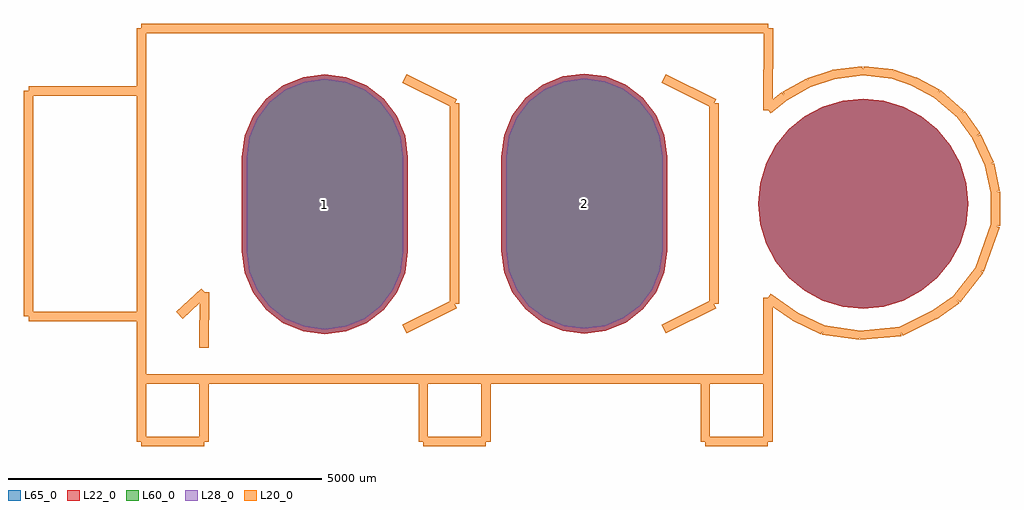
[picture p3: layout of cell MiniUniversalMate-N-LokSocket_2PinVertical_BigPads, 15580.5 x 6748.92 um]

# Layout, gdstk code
import gdstk
lib = gdstk.Library(unit=1e-6, precision=1e-09)
def P(c, l, *ps):  # polygons
    for p in ps: c.add(gdstk.Polygon(p, *l))
L20_0 = (20, 0)
L22_0 = (22, 0)
L28_0 = (28, 0)
L60_0 = (60, 0)
L65_0 = (65, 0)

miniuniversalmate_n_loks = lib.new_cell('MiniUniversalMate-N-LokSocket_2PinVertical_BigPads')
P(miniuniversalmate_n_loks, L22_0, [(-2070.1,-2085.41),(-1727.248,-2040.273),(-1407.76,-1907.937),(-1133.41,-1697.42),(-922.893,-1423.07),(-790.557,-1103.582),(-745.42,-760.73),(-745.42,740.41),(-790.557,1083.262),(-922.893,1402.75),(-1133.41,1677.1),(-1407.76,1887.617),(-1727.248,2019.953),(-2070.1,2065.09),(-2412.952,2019.953),(-2732.44,1887.617),(-3006.79,1677.1),(-3217.307,1402.75),(-3349.643,1083.262),(-3394.78,740.41),(-3394.78,-760.73),(-3349.643,-1103.582),(-3217.307,-1423.07),(-3006.79,-1697.42),(-2732.44,-1907.937),(-2412.952,-2040.273)],
  [(8195.38,0),(8163.192,326.815),(8067.863,641.071),(7913.058,930.691),(7704.725,1184.545),(7450.871,1392.878),(7161.251,1547.683),(6846.995,1643.012),(6520.18,1675.2),(6193.365,1643.012),(5879.109,1547.683),(5589.489,1392.878),(5335.635,1184.545),(5127.302,930.691),(4972.497,641.071),(4877.168,326.815),(4844.98,0),(4877.168,-326.815),(4972.497,-641.071),(5127.302,-930.691),(5335.635,-1184.545),(5589.489,-1392.878),(5879.109,-1547.683),(6193.365,-1643.012),(6520.18,-1675.2),(6846.995,-1643.012),(7161.251,-1547.683),(7450.871,-1392.878),(7704.725,-1184.545),(7913.058,-930.691),(8067.863,-641.071),(8163.192,-326.815)],
  [(2070.1,-2075.25),(2412.952,-2030.113),(2732.44,-1897.777),(3006.79,-1687.26),(3217.307,-1412.91),(3349.643,-1093.422),(3394.78,-750.57),(3394.78,750.57),(3349.643,1093.422),(3217.307,1412.91),(3006.79,1687.26),(2732.44,1897.777),(2412.952,2030.113),(2070.1,2075.25),(1727.248,2030.113),(1407.76,1897.777),(1133.41,1687.26),(922.893,1412.91),(790.557,1093.422),(745.42,750.57),(745.42,-750.57),(790.557,-1093.422),(922.893,-1412.91),(1133.41,-1687.26),(1407.76,-1897.777),(1727.248,-2030.113)])
P(miniuniversalmate_n_loks, L28_0, [(-2070.1,-2010.41),(-1746.659,-1967.828),(-1445.26,-1842.985),(-1186.443,-1644.387),(-987.845,-1385.57),(-863.002,-1084.171),(-820.42,-760.73),(-820.42,740.41),(-863.002,1063.851),(-987.845,1365.25),(-1186.443,1624.067),(-1445.26,1822.665),(-1746.659,1947.508),(-2070.1,1990.09),(-2393.541,1947.508),(-2694.94,1822.665),(-2953.757,1624.067),(-3152.355,1365.25),(-3277.198,1063.851),(-3319.78,740.41),(-3319.78,-760.73),(-3277.198,-1084.171),(-3152.355,-1385.57),(-2953.757,-1644.387),(-2694.94,-1842.985),(-2393.541,-1967.828)],
  [(2070.1,-2000.25),(2393.541,-1957.668),(2694.94,-1832.825),(2953.757,-1634.227),(3152.355,-1375.41),(3277.198,-1074.011),(3319.78,-750.57),(3319.78,750.57),(3277.198,1074.011),(3152.355,1375.41),(2953.757,1634.227),(2694.94,1832.825),(2393.541,1957.668),(2070.1,2000.25),(1746.659,1957.668),(1445.26,1832.825),(1186.443,1634.227),(987.845,1375.41),(863.002,1074.011),(820.42,750.57),(820.42,-750.57),(863.002,-1074.011),(987.845,-1375.41),(1186.443,-1634.227),(1445.26,-1832.825),(1746.659,-1957.668)])
P(miniuniversalmate_n_loks, L60_0, [(-2070.1,-2010.41),(-1746.659,-1967.828),(-1445.26,-1842.985),(-1186.443,-1644.387),(-987.845,-1385.57),(-863.002,-1084.171),(-820.42,-760.73),(-820.42,740.41),(-863.002,1063.851),(-987.845,1365.25),(-1186.443,1624.067),(-1445.26,1822.665),(-1746.659,1947.508),(-2070.1,1990.09),(-2393.541,1947.508),(-2694.94,1822.665),(-2953.757,1624.067),(-3152.355,1365.25),(-3277.198,1063.851),(-3319.78,740.41),(-3319.78,-760.73),(-3277.198,-1084.171),(-3152.355,-1385.57),(-2953.757,-1644.387),(-2694.94,-1842.985),(-2393.541,-1967.828)],
  [(2070.1,-2000.25),(2393.541,-1957.668),(2694.94,-1832.825),(2953.757,-1634.227),(3152.355,-1375.41),(3277.198,-1074.011),(3319.78,-750.57),(3319.78,750.57),(3277.198,1074.011),(3152.355,1375.41),(2953.757,1634.227),(2694.94,1832.825),(2393.541,1957.668),(2070.1,2000.25),(1746.659,1957.668),(1445.26,1832.825),(1186.443,1634.227),(987.845,1375.41),(863.002,1074.011),(820.42,750.57),(820.42,-750.57),(863.002,-1074.011),(987.845,-1375.41),(1186.443,-1634.227),(1445.26,-1832.825),(1746.659,-1957.668)])
P(miniuniversalmate_n_loks, L65_0, [(-2070.1,-2085.41),(-1727.248,-2040.273),(-1407.76,-1907.937),(-1133.41,-1697.42),(-922.893,-1423.07),(-790.557,-1103.582),(-745.42,-760.73),(-745.42,740.41),(-790.557,1083.262),(-922.893,1402.75),(-1133.41,1677.1),(-1407.76,1887.617),(-1727.248,2019.953),(-2070.1,2065.09),(-2412.952,2019.953),(-2732.44,1887.617),(-3006.79,1677.1),(-3217.307,1402.75),(-3349.643,1083.262),(-3394.78,740.41),(-3394.78,-760.73),(-3349.643,-1103.582),(-3217.307,-1423.07),(-3006.79,-1697.42),(-2732.44,-1907.937),(-2412.952,-2040.273)],
  [(8195.38,0),(8163.192,326.815),(8067.863,641.071),(7913.058,930.691),(7704.725,1184.545),(7450.871,1392.878),(7161.251,1547.683),(6846.995,1643.012),(6520.18,1675.2),(6193.365,1643.012),(5879.109,1547.683),(5589.489,1392.878),(5335.635,1184.545),(5127.302,930.691),(4972.497,641.071),(4877.168,326.815),(4844.98,0),(4877.168,-326.815),(4972.497,-641.071),(5127.302,-930.691),(5335.635,-1184.545),(5589.489,-1392.878),(5879.109,-1547.683),(6193.365,-1643.012),(6520.18,-1675.2),(6846.995,-1643.012),(7161.251,-1547.683),(7450.871,-1392.878),(7704.725,-1184.545),(7913.058,-930.691),(8067.863,-641.071),(8163.192,-326.815)],
  [(2070.1,-2075.25),(2412.952,-2030.113),(2732.44,-1897.777),(3006.79,-1687.26),(3217.307,-1412.91),(3349.643,-1093.422),(3394.78,-750.57),(3394.78,750.57),(3349.643,1093.422),(3217.307,1412.91),(3006.79,1687.26),(2732.44,1897.777),(2412.952,2030.113),(2070.1,2075.25),(1727.248,2030.113),(1407.76,1897.777),(1133.41,1687.26),(922.893,1412.91),(790.557,1093.422),(745.42,750.57),(745.42,-750.57),(790.557,-1093.422),(922.893,-1412.91),(1133.41,-1687.26),(1407.76,-1897.777),(1727.248,-2030.113)])
miniuniversalmate_n_loks.add(gdstk.FlexPath([(5008.88,2799.08),(5001.26,1490.98)], 149.998, ends="flush", simple_path=True, layer=20, datatype=0))  # L20_0
miniuniversalmate_n_loks.add(gdstk.FlexPath([(-5001.26,2799.08),(5008.88,2799.08)], 149.998, ends="flush", simple_path=True, layer=20, datatype=0))  # L20_0
miniuniversalmate_n_loks.add(gdstk.FlexPath([(5001.26,-2799.08),(5001.26,-1501.14)], 149.998, ends="flush", simple_path=True, layer=20, datatype=0))  # L20_0
miniuniversalmate_n_loks.add(gdstk.FlexPath([(-5001.26,-2799.08),(5001.26,-2799.08)], 149.998, ends="flush", simple_path=True, layer=20, datatype=0))  # L20_0
miniuniversalmate_n_loks.add(gdstk.FlexPath([(-5001.26,2799.08),(-5001.26,-2799.08)], 149.998, ends="flush", simple_path=True, layer=20, datatype=0))  # L20_0
miniuniversalmate_n_loks.add(gdstk.FlexPath([(5430.52,-1800.86),(5001.26,-1501.14)], 149.998, ends="flush", simple_path=True, layer=20, datatype=0))  # L20_0
miniuniversalmate_n_loks.add(gdstk.FlexPath([(5880.1,-2019.3),(5430.52,-1800.86)], 149.998, ends="flush", simple_path=True, layer=20, datatype=0))  # L20_0
miniuniversalmate_n_loks.add(gdstk.FlexPath([(6469.38,-2100.58),(5880.1,-2019.3)], 149.998, ends="flush", simple_path=True, layer=20, datatype=0))  # L20_0
miniuniversalmate_n_loks.add(gdstk.FlexPath([(7119.62,-2039.62),(6469.38,-2100.58)], 149.998, ends="flush", simple_path=True, layer=20, datatype=0))  # L20_0
miniuniversalmate_n_loks.add(gdstk.FlexPath([(7650.48,-1780.54),(7119.62,-2039.62)], 149.998, ends="flush", simple_path=True, layer=20, datatype=0))  # L20_0
miniuniversalmate_n_loks.add(gdstk.FlexPath([(8011.16,-1529.08),(7650.48,-1780.54)], 149.998, ends="flush", simple_path=True, layer=20, datatype=0))  # L20_0
miniuniversalmate_n_loks.add(gdstk.FlexPath([(8379.46,-1059.18),(8011.16,-1529.08)], 149.998, ends="flush", simple_path=True, layer=20, datatype=0))  # L20_0
miniuniversalmate_n_loks.add(gdstk.FlexPath([(8630.92,-350.52),(8379.46,-1059.18)], 149.998, ends="flush", simple_path=True, layer=20, datatype=0))  # L20_0
miniuniversalmate_n_loks.add(gdstk.FlexPath([(8630.92,190.5),(8630.92,-350.52)], 149.998, ends="flush", simple_path=True, layer=20, datatype=0))  # L20_0
miniuniversalmate_n_loks.add(gdstk.FlexPath([(8539.48,629.92),(8630.92,190.5)], 149.998, ends="flush", simple_path=True, layer=20, datatype=0))  # L20_0
miniuniversalmate_n_loks.add(gdstk.FlexPath([(8331.2,1079.5),(8539.48,629.92)], 149.998, ends="flush", simple_path=True, layer=20, datatype=0))  # L20_0
miniuniversalmate_n_loks.add(gdstk.FlexPath([(8079.74,1430.02),(8331.2,1079.5)], 149.998, ends="flush", simple_path=True, layer=20, datatype=0))  # L20_0
miniuniversalmate_n_loks.add(gdstk.FlexPath([(7708.9,1750.06),(8079.74,1430.02)], 149.998, ends="flush", simple_path=True, layer=20, datatype=0))  # L20_0
miniuniversalmate_n_loks.add(gdstk.FlexPath([(7330.44,1950.72),(7708.9,1750.06)], 149.998, ends="flush", simple_path=True, layer=20, datatype=0))  # L20_0
miniuniversalmate_n_loks.add(gdstk.FlexPath([(6990.08,2070.1),(7330.44,1950.72)], 149.998, ends="flush", simple_path=True, layer=20, datatype=0))  # L20_0
miniuniversalmate_n_loks.add(gdstk.FlexPath([(6520.18,2120.9),(6990.08,2070.1)], 149.998, ends="flush", simple_path=True, layer=20, datatype=0))  # L20_0
miniuniversalmate_n_loks.add(gdstk.FlexPath([(6040.12,2059.94),(6520.18,2120.9)], 149.998, ends="flush", simple_path=True, layer=20, datatype=0))  # L20_0
miniuniversalmate_n_loks.add(gdstk.FlexPath([(5648.96,1930.4),(6040.12,2059.94)], 149.998, ends="flush", simple_path=True, layer=20, datatype=0))  # L20_0
miniuniversalmate_n_loks.add(gdstk.FlexPath([(5270.5,1719.58),(5648.96,1930.4)], 149.998, ends="flush", simple_path=True, layer=20, datatype=0))  # L20_0
miniuniversalmate_n_loks.add(gdstk.FlexPath([(5001.26,1501.14),(5270.5,1719.58)], 149.998, ends="flush", simple_path=True, layer=20, datatype=0))  # L20_0
miniuniversalmate_n_loks.add(gdstk.FlexPath([(-6799.58,-1800.86),(-5001.26,-1800.86)], 149.998, ends="flush", simple_path=True, layer=20, datatype=0))  # L20_0
miniuniversalmate_n_loks.add(gdstk.FlexPath([(-6799.58,1800.86),(-6799.58,-1800.86)], 149.998, ends="flush", simple_path=True, layer=20, datatype=0))  # L20_0
miniuniversalmate_n_loks.add(gdstk.FlexPath([(-5001.26,1800.86),(-6799.58,1800.86)], 149.998, ends="flush", simple_path=True, layer=20, datatype=0))  # L20_0
miniuniversalmate_n_loks.add(gdstk.FlexPath([(-4000.5,-3799.84),(-4000.5,-2799.08)], 149.998, ends="flush", simple_path=True, layer=20, datatype=0))  # L20_0
miniuniversalmate_n_loks.add(gdstk.FlexPath([(-5001.26,-3799.84),(-4000.5,-3799.84)], 149.998, ends="flush", simple_path=True, layer=20, datatype=0))  # L20_0
miniuniversalmate_n_loks.add(gdstk.FlexPath([(-5001.26,-2799.08),(-5001.26,-3799.84)], 149.998, ends="flush", simple_path=True, layer=20, datatype=0))  # L20_0
miniuniversalmate_n_loks.add(gdstk.FlexPath([(4000.5,-3799.84),(4000.5,-2799.08)], 149.998, ends="flush", simple_path=True, layer=20, datatype=0))  # L20_0
miniuniversalmate_n_loks.add(gdstk.FlexPath([(5001.26,-3799.84),(4000.5,-3799.84)], 149.998, ends="flush", simple_path=True, layer=20, datatype=0))  # L20_0
miniuniversalmate_n_loks.add(gdstk.FlexPath([(5001.26,-2799.08),(5001.26,-3799.84)], 149.998, ends="flush", simple_path=True, layer=20, datatype=0))  # L20_0
miniuniversalmate_n_loks.add(gdstk.FlexPath([(-500.38,-3799.84),(-500.38,-2799.08)], 149.998, ends="flush", simple_path=True, layer=20, datatype=0))  # L20_0
miniuniversalmate_n_loks.add(gdstk.FlexPath([(500.38,-3799.84),(-500.38,-3799.84)], 149.998, ends="flush", simple_path=True, layer=20, datatype=0))  # L20_0
miniuniversalmate_n_loks.add(gdstk.FlexPath([(500.38,-2799.08),(500.38,-3799.84)], 149.998, ends="flush", simple_path=True, layer=20, datatype=0))  # L20_0
miniuniversalmate_n_loks.add(gdstk.FlexPath([(0,1600.2),(0,-1600.2)], 149.998, ends="flush", simple_path=True, layer=20, datatype=0))  # L20_0
miniuniversalmate_n_loks.add(gdstk.FlexPath([(4140.2,1600.2),(4140.2,-1600.2)], 149.998, ends="flush", simple_path=True, layer=20, datatype=0))  # L20_0
miniuniversalmate_n_loks.add(gdstk.FlexPath([(0,-1600.2),(-800.1,-1998.98)], 149.998, ends="flush", simple_path=True, layer=20, datatype=0))  # L20_0
miniuniversalmate_n_loks.add(gdstk.FlexPath([(4140.2,-1600.2),(3340.1,-1998.98)], 149.998, ends="flush", simple_path=True, layer=20, datatype=0))  # L20_0
miniuniversalmate_n_loks.add(gdstk.FlexPath([(4140.2,1600.2),(3340.1,1998.98)], 149.998, ends="flush", simple_path=True, layer=20, datatype=0))  # L20_0
miniuniversalmate_n_loks.add(gdstk.FlexPath([(0,1600.2),(-800.1,1998.98)], 149.998, ends="flush", simple_path=True, layer=20, datatype=0))  # L20_0
miniuniversalmate_n_loks.add(gdstk.FlexPath([(-3990.34,-1409.7),(-4000.5,-2298.7)], 149.998, ends="flush", simple_path=True, layer=20, datatype=0))  # L20_0
miniuniversalmate_n_loks.add(gdstk.FlexPath([(-4389.12,-1780.54),(-3990.34,-1409.7)], 149.998, ends="flush", simple_path=True, layer=20, datatype=0))  # L20_0
miniuniversalmate_n_loks.add(gdstk.Label('1', (-2070.1,-10.16), layer=28, texttype=0))
miniuniversalmate_n_loks.add(gdstk.Label('2', (2070.1,0), layer=28, texttype=0))
miniuniversalmate_n_loks.add(gdstk.Label('type', (-701.04,-5621.02), layer=9, texttype=0))
miniuniversalmate_n_loks.add(gdstk.Label('devicename', (71.12,5430.52), layer=9, texttype=0))

lib.write_gds('MiniUniversalMate-N-LokSocket_2PinVertical_BigPads.gds')
